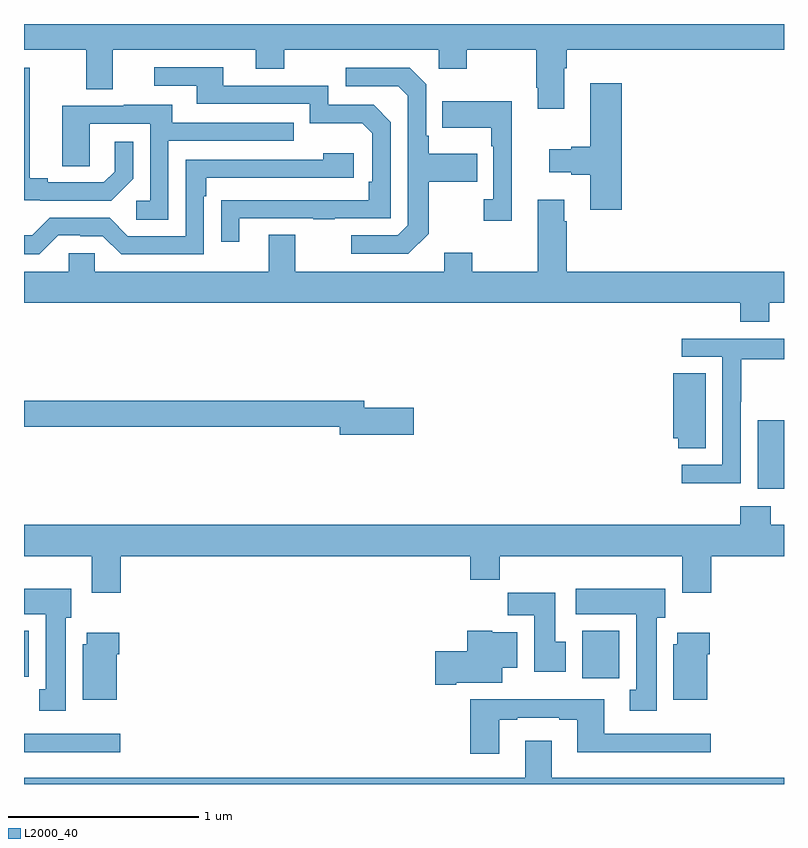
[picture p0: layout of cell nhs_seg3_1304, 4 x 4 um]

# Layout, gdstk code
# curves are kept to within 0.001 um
import gdstk
lib = gdstk.Library(unit=1e-6, precision=1e-09)
def R(c, l, rs):  # rectangles x0, y0, x1, y1
    for r in rs: c.add(gdstk.rectangle(r[:2], r[2:], *l))
def P(c, l, *ps):  # polygons
    for p in ps: c.add(gdstk.Polygon(p, *l))
L2000_40 = (2000, 40)

nhs_seg3_1304 = lib.new_cell('nhs_seg3_1304')
R(nhs_seg3_1304, L2000_40, [(179,682.568,179.506,682.665), (181.937,682.956,182.133,683.206), (179,682.964,179.026,683.206), (182.861,683.954,183,684.315)])
P(nhs_seg3_1304, L2000_40, [(181.843,686.168),(181.856,686.168),(181.856,686.264),(183,686.264),(183,686.4),(179,686.4),(179,686.264),(179.327,686.264),(179.327,686.056),(179.467,686.056),(179.467,686.264),(180.221,686.264),(180.221,686.165),(180.369,686.165),(180.369,686.264),(181.182,686.264),(181.182,686.165),(181.329,686.165),(181.329,686.264),(181.696,686.264),(181.696,686.065),(181.703,686.065),(181.703,685.953),(181.843,685.953)],
  [(180.133,685.377),(180.523,685.377),(180.523,685.372),(180.635,685.372),(180.635,685.377),(180.93,685.377),(180.93,685.884),(180.84,685.974),(180.6,685.974),(180.6,686.076),(180.049,686.076),(180.049,686.172),(179.685,686.172),(179.685,686.076),(179.909,686.076),(179.909,685.98),(180.504,685.98),(180.504,685.877),(180.781,685.877),(180.834,685.824),(180.834,685.57),(180.814,685.57),(180.814,685.473),(180.037,685.472),(180.037,685.254),(180.133,685.254)],
  [(179.574,685.586),(179.574,685.78),(179.477,685.78),(179.477,685.623),(179.42,685.566),(179.125,685.566),(179.125,685.589),(179.029,685.589),(179.029,686.169),(179,686.169),(179,685.473),(179.086,685.473),(179.086,685.47),(179.458,685.47)],
  [(181.129,685.297),(181.129,685.57),(181.385,685.57),(181.385,685.717),(181.129,685.717),(181.129,685.813),(181.116,685.813),(181.116,686.082),(181.029,686.169),(180.693,686.169),(180.693,686.073),(180.969,686.073),(181.02,686.022),(181.02,685.341),(180.966,685.287),(180.723,685.287),(180.723,685.191),(181.023,685.191)],
  [(182.147,686.089),(181.979,686.089),(181.979,685.754),(181.88,685.754),(181.88,685.741),(181.764,685.741),(181.764,685.619),(181.88,685.619),(181.88,685.607),(181.979,685.607),(181.979,685.422),(182.147,685.422)],
  [(181.568,685.993),(181.201,685.993),(181.201,685.853),(181.458,685.853),(181.458,685.757),(181.47,685.757),(181.47,685.478),(181.419,685.478),(181.419,685.365),(181.568,685.365)],
  [(179.76,685.785),(180.419,685.785),(180.419,685.881),(179.779,685.881),(179.779,685.975),(179.525,685.975),(179.525,685.971),(179.201,685.971),(179.201,685.651),(179.346,685.651),(179.346,685.875),(179.664,685.875),(179.664,685.47),(179.592,685.47),(179.592,685.369),(179.76,685.369)],
  [(179.181,685.287),(179.297,685.287),(179.297,685.284),(179.415,685.284),(179.511,685.188),(179.946,685.188),(179.946,685.493),(179.959,685.493),(179.959,685.59),(180.736,685.59),(180.736,685.72),(180.575,685.72),(180.575,685.686),(179.85,685.686),(179.85,685.284),(179.547,685.284),(179.451,685.38),(179.136,685.38),(179.043,685.287),(179,685.287),(179,685.187),(179.081,685.187)],
  [(181.843,685.361),(181.843,685.474),(181.703,685.474),(181.703,685.096),(181.359,685.096),(181.359,685.195),(181.211,685.195),(181.211,685.096),(180.427,685.096),(180.427,685.291),(180.287,685.291),(180.287,685.096),(179.373,685.096),(179.373,685.194),(179.235,685.194),(179.235,685.096),(179,685.096),(179,684.932),(182.771,684.932),(182.771,684.833),(182.923,684.833),(182.923,684.932),(183,684.932),(183,685.096),(181.856,685.096),(181.856,685.361)],
  [(182.772,684.412),(182.775,684.412),(182.775,684.636),(183,684.636),(183,684.744),(182.463,684.744),(182.463,684.648),(182.676,684.648),(182.676,684.081),(182.463,684.081),(182.463,683.983),(182.772,683.983)],
  [(182.587,684.563),(182.417,684.563),(182.417,684.219),(182.444,684.219),(182.444,684.166),(182.587,684.166)],
  [(181.051,684.38),(180.79,684.38),(180.79,684.416),(179,684.416),(179,684.28),(180.662,684.28),(180.662,684.238),(181.051,684.238)],
  [(179.51,683.6),(181.349,683.6),(181.349,683.476),(181.505,683.476),(181.505,683.6),(182.465,683.6),(182.465,683.406),(182.618,683.406),(182.618,683.6),(183,683.6),(183,683.764),(182.931,683.764),(182.931,683.863),(182.771,683.863),(182.771,683.764),(179,683.764),(179,683.6),(179.357,683.6),(179.357,683.406),(179.51,683.406)],
  [(179.221,683.274),(179.248,683.274),(179.248,683.428),(179,683.428),(179,683.294),(179.114,683.294),(179.114,682.898),(179.081,682.898),(179.081,682.785),(179.221,682.785)],
  [(182.329,683.274),(182.374,683.274),(182.374,683.428),(181.905,683.428),(181.905,683.294),(182.222,683.294),(182.222,682.897),(182.189,682.897),(182.189,682.785),(182.329,682.785)],
  [(181.852,683.148),(181.795,683.148),(181.795,683.407),(181.546,683.407),(181.546,683.288),(181.685,683.288),(181.685,682.992),(181.852,682.992)],
  [(181.276,682.934),(181.516,682.934),(181.516,683.012),(181.597,683.012),(181.597,683.2),(181.464,683.2),(181.464,683.206),(181.334,683.206),(181.334,683.1),(181.164,683.1),(181.164,682.922),(181.276,682.922)],
  [(182.596,683.084),(182.609,683.084),(182.609,683.197),(182.438,683.197),(182.438,683.136),(182.417,683.136),(182.417,682.844),(182.596,682.844)],
  [(179.488,683.084),(179.501,683.084),(179.501,683.197),(179.33,683.197),(179.33,683.136),(179.309,683.136),(179.309,682.844),(179.488,682.844)],
  [(181.501,682.737),(181.597,682.737),(181.597,682.749),(181.817,682.749),(181.817,682.737),(181.913,682.737),(181.913,682.568),(182.614,682.568),(182.614,682.665),(182.053,682.665),(182.053,682.846),(181.349,682.846),(181.349,682.56),(181.501,682.56)],
  [(183,682.432),(181.777,682.432),(181.777,682.627),(181.637,682.627),(181.637,682.432),(179,682.432),(179,682.4),(183,682.4)])

lib.write_gds('nhs_seg3_1304.gds')
